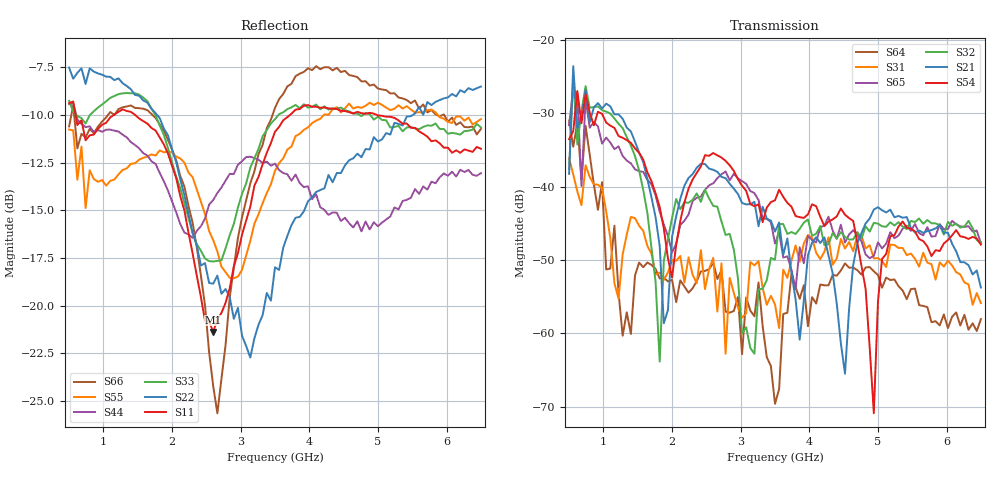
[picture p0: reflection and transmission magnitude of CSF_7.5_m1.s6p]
!Keysight Technologies,M9804A,MY58100912,A.14.10.03
!Date: Thursday, April 27, 2023 10:28:33
!Correction: S11(C  6-Port  )
!S12(C  6-Port  )
!S13(C  6-Port  )
!S14(C  6-Port  )
!S15(C  6-Port  )
!S16(C  6-Port  )
!S21(C  6-Port  )
!S22(C  6-Port  )
!S23(C  6-Port  )
!S24(C  6-Port  )
!S25(C  6-Port  )
!S26(C  6-Port  )
!S31(C  6-Port  )
!S32(C  6-Port  )
!S33(C  6-Port  )
!S34(C  6-Port  )
!S35(C  6-Port  )
!S36(C  6-Port  )
!S41(C  6-Port  )
!S42(C  6-Port  )
!S43(C  6-Port  )
!S44(C  6-Port  )
!S45(C  6-Port  )
!S46(C  6-Port  )
!S51(C  6-Port  )
!S52(C  6-Port  )
!S53(C  6-Port  )
!S54(C  6-Port  )
!S55(C  6-Port  )
!S56(C  6-Port  )
!S61(C  6-Port  )
!S62(C  6-Port  )
!S63(C  6-Port  )
!S64(C  6-Port  )
!S65(C  6-Port  )
!S66(C  6-Port  )
!S6P File: Measurement: :
# Hz S  RI  R 50
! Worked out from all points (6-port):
!   101 points, 500 MHz to 6.5 GHz, reference 50 ohm
!   strongest paths, dB at 500 MHz, 2 GHz, 3.5 GHz, 5 GHz, 6.5 GHz:
!     S54: -33.6, -52.4, -41.9, -55.7, -47.9
!     S21: -38.3, -46.9, -46.1, -42.8, -53.7
!     S32: -37.6, -44.3, -49.9, -45.0, -47.5
!     S65: -31.6, -49.0, -47.8, -47.6, -47.7
!     S31: -36.2, -50.0, -56.0, -49.7, -55.9
!     S64: -31.0, -52.7, -69.6, -52.0, -58.1
!   lowest |S11| = -21.4 dB at 2.6 GHz (marker M1), VSWR 1.19, Z = 42.5 + j2.28 ohm
!   |S11| at or under -10 dB: 594.5 MHz to 1.151 GHz (556.7 MHz wide, 63.8 % of centre); 1.464 GHz to 3.717 GHz (2.253 GHz wide, 87 % of centre); 4.987 GHz to end of sweep
